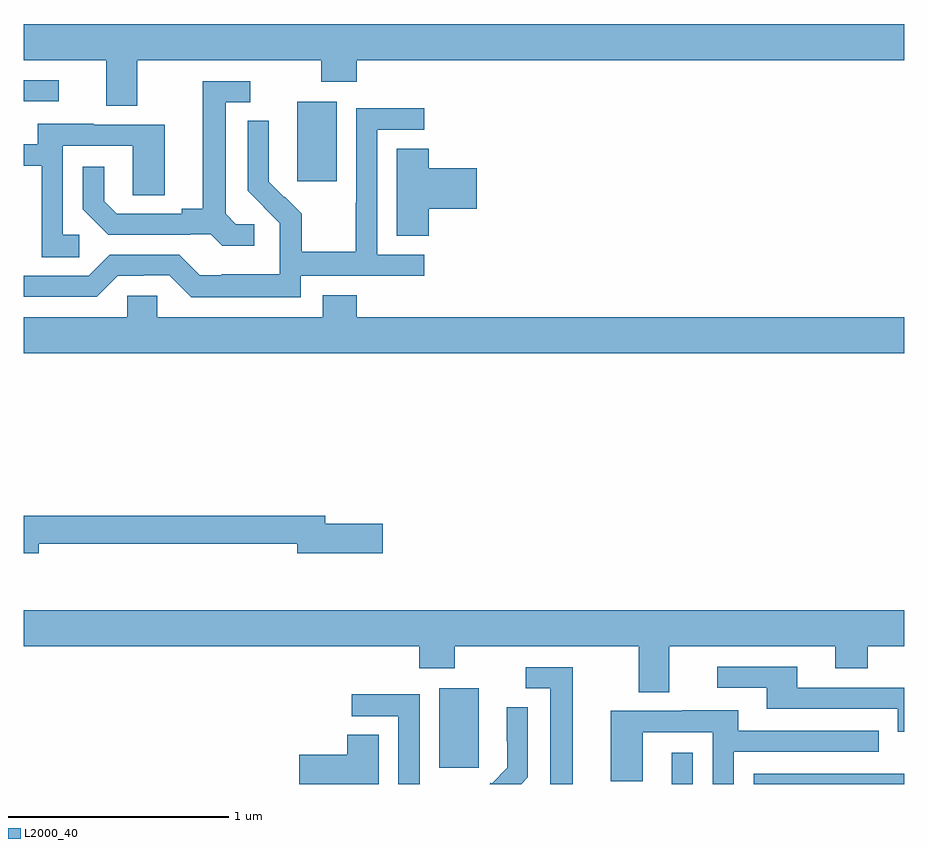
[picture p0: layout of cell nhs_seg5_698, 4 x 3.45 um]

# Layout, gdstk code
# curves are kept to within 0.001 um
import gdstk
lib = gdstk.Library(unit=1e-6, precision=1e-09)
def R(c, l, rs):  # rectangles x0, y0, x1, y1
    for r in rs: c.add(gdstk.rectangle(r[:2], r[2:], *l))
def P(c, l, *ps):  # polygons
    for p in ps: c.add(gdstk.Polygon(p, *l))
L2000_40 = (2000, 40)

nhs_seg5_698 = lib.new_cell('nhs_seg5_698')
R(nhs_seg5_698, L2000_40, [(157.943,858.799,158.04,858.94), (158.316,858.799,159,858.846), (156.887,858.873,157.066,859.234), (156.242,861.537,156.421,861.898), (155,861.9,155.158,861.996)])
P(nhs_seg5_698, L2000_40, [(155.515,862.088),(156.352,862.088),(156.352,861.989),(156.512,861.989),(156.512,862.088),(159,862.088),(159,862.252),(155,862.252),(155,862.088),(155.375,862.088),(155.375,861.88),(155.515,861.88)],
  [(156.046,861.342),(155.964,861.342),(155.917,861.389),(155.917,861.897),(156.028,861.897),(156.028,861.993),(155.813,861.993),(155.813,861.413),(155.717,861.413),(155.717,861.39),(155.422,861.39),(155.365,861.447),(155.365,861.604),(155.268,861.604),(155.268,861.41),(155.384,861.294),(155.756,861.294),(155.756,861.297),(155.85,861.297),(155.902,861.245),(156.046,861.245)],
  [(156.258,861.108),(156.82,861.108),(156.82,861.204),(156.606,861.204),(156.606,861.771),(156.82,861.771),(156.82,861.87),(156.51,861.87),(156.51,861.44),(156.508,861.44),(156.508,861.217),(156.263,861.217),(156.263,861.391),(156.186,861.468),(156.183,861.465),(156.113,861.536),(156.114,861.812),(156.018,861.812),(156.018,861.494),(156.164,861.346),(156.164,861.249),(156.162,861.249),(156.162,861.115),(155.899,861.115),(155.899,861.111),(155.799,861.111),(155.706,861.204),(155.391,861.204),(155.295,861.108),(155,861.108),(155,861.012),(155.331,861.012),(155.427,861.108),(155.546,861.108),(155.546,861.111),(155.661,861.111),(155.761,861.011),(156.258,861.011)],
  [(155.251,861.294),(155.178,861.294),(155.178,861.699),(155.496,861.699),(155.496,861.475),(155.641,861.475),(155.641,861.795),(155.317,861.795),(155.317,861.799),(155.063,861.799),(155.063,861.705),(155,861.705),(155,861.609),(155.082,861.609),(155.082,861.193),(155.251,861.193)],
  [(156.839,861.413),(157.057,861.413),(157.057,861.596),(156.839,861.596),(156.839,861.686),(156.695,861.686),(156.695,861.289),(156.839,861.289)],
  [(159,860.92),(156.512,860.92),(156.512,861.019),(156.359,861.019),(156.359,860.92),(155.607,860.92),(155.607,861.018),(155.469,861.018),(155.469,860.92),(155,860.92),(155,860.756),(159,860.756)],
  [(155.068,859.89),(156.242,859.89),(156.242,859.847),(156.631,859.847),(156.631,859.982),(156.37,859.982),(156.37,860.018),(155,860.018),(155,859.847),(155.068,859.847)],
  [(157.933,859.424),(158.687,859.424),(158.687,859.325),(158.835,859.325),(158.835,859.424),(159,859.424),(159,859.588),(155,859.588),(155,859.424),(156.797,859.424),(156.797,859.325),(156.957,859.325),(156.957,859.424),(157.793,859.424),(157.793,859.216),(157.933,859.216)],
  [(159,859.236),(158.515,859.236),(158.515,859.332),(158.151,859.332),(158.151,859.236),(158.375,859.236),(158.375,859.14),(158.97,859.14),(158.97,859.037),(159,859.037)],
  [(157.495,859.329),(157.281,859.329),(157.281,859.233),(157.391,859.233),(157.391,858.799),(157.495,858.799)],
  [(156.798,859.206),(156.489,859.206),(156.489,859.107),(156.702,859.107),(156.702,858.799),(156.798,858.799)],
  [(157.29,858.83),(157.29,859.148),(157.194,859.148),(157.194,858.994),(157.196,858.994),(157.196,858.872),(157.125,858.801),(157.122,858.804),(157.117,858.799),(157.259,858.799)],
  [(158.226,858.945),(158.885,858.945),(158.885,859.041),(158.245,859.041),(158.245,859.135),(157.991,859.135),(157.991,859.131),(157.667,859.131),(157.667,858.811),(157.812,858.811),(157.812,859.035),(158.13,859.035),(158.13,858.799),(158.226,858.799)],
  [(156.613,859.022),(156.47,859.022),(156.47,858.932),(156.252,858.932),(156.252,858.799),(156.613,858.799)])

lib.write_gds('nhs_seg5_698.gds')
